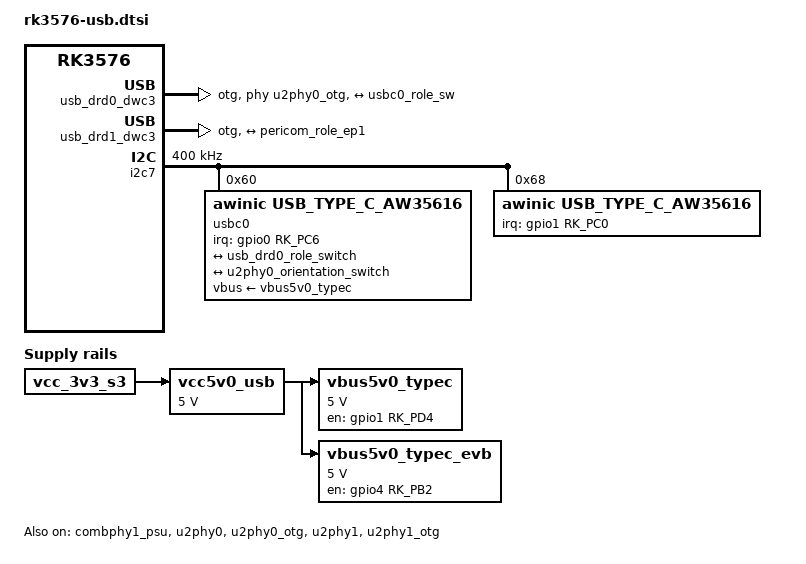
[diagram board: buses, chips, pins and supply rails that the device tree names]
// SPDX-License-Identifier: (GPL-2.0+ OR MIT)

/ {
	vcc5v0_usb: vcc5v0-usb {
		compatible = "regulator-fixed";
		regulator-name = "vcc5v0_usb";
		regulator-always-on;
		regulator-boot-on;
		regulator-min-microvolt = <5000000>;
		regulator-max-microvolt = <5000000>;
		vin-supply = <&vcc_3v3_s3>;	// By the voltage boosting circuit
	};

	vbus5v0_typec: vbus5v0-typec {
		compatible = "regulator-fixed";
		regulator-name = "vbus5v0_typec";
		regulator-min-microvolt = <5000000>;
		regulator-max-microvolt = <5000000>;
		enable-active-high;
		gpio = <&gpio1 RK_PD4 GPIO_ACTIVE_HIGH>;
		vin-supply = <&vcc5v0_usb>;
		pinctrl-names = "default";
		pinctrl-0 = <&usb_otg0_pwren>;
	};

	vbus5v0_typec_evb: vbus5v0-typec_evb {
		compatible = "regulator-fixed";
		regulator-name = "vbus5v0_typec_evb";
		regulator-min-microvolt = <5000000>;
		regulator-max-microvolt = <5000000>;
		enable-active-high;
		gpio = <&gpio4 RK_PB2 GPIO_ACTIVE_HIGH>;
		vin-supply = <&vcc5v0_usb>;
		pinctrl-names = "default";
		pinctrl-0 = <&usb_otg1_pwren>;
	};
};

&combphy1_psu {
	status = "okay";
};

&u2phy0 {
	orientation-switch;
	status = "okay";

	port {
		u2phy0_orientation_switch: endpoint {
			remote-endpoint = <&usbc0_orien_sw>;
		};
	};
};

&u2phy0_otg {
	status = "okay";
	rockchip,sel-pipe-phystatus;
	rockchip,dis-u2-susphy;
};

&usb_drd0_dwc3 {
	status = "okay";
	dr_mode = "otg";
	maximum-speed = "high-speed";
	phys = <&u2phy0_otg>;
	phy-names = "usb2-phy";
	usb-role-switch;
	snps,dis_u2_susphy_quirk;
	snps,usb2-lpm-disable;
	port {
		usb_drd0_role_switch: endpoint {
			remote-endpoint = <&usbc0_role_sw>;
		};
	};
};

&u2phy1 {
	status = "okay";
};

&u2phy1_otg {
    status = "okay";
	vbus-supply = <&vbus5v0_typec_evb>;
};

&usb_drd1_dwc3 {
    status = "okay";
	dr_mode = "otg";
	usb-role-switch;
	port {
        usb_drd1_role_switch: endpoint {
            remote-endpoint = <&pericom_role_ep1>;
        };
	};
};

&i2c7 {
	status = "okay";
	clock-frequency = <400000>;
	pinctrl-names = "default";
	pinctrl-0 = <&i2c7m1_xfer>;

	usbc0: usb_type_c_aw35616@60 {
		compatible = "awinic,usb_type_c_aw35616";
		reg = <0x60>;
		interrupt-parent = <&gpio0>;
		interrupts = <RK_PC6 IRQ_TYPE_LEVEL_LOW>;
		pinctrl-names = "default";
		pinctrl-0 = <&usbc0_int>;
		vbus-supply = <&vbus5v0_typec>;
		aw35616-tcpc,role_def = <5>; /* 1: SNK, 2: SRC, 3: DRP, 4: Try.SRC, 5: Try.SNK */
		aw35616,rp_level = <0>; /* 0: Default, 1: 1.5A, 2: 3.0A */
		aw35616_acc_support = <0>; /* 0: support, 1: no support */
		aw35616_toggle_cycle = <0>; /* 0: Disable, 1: 40ms, 2: 80ms, 3: 160ms */
		status = "okay";

		port {
			usbc0_role_sw: endpoint {
				remote-endpoint = <&usb_drd0_role_switch>;
			};
		};

		usb_con0: connector {
			compatible = "usb-c-connector";
			label = "USB-C";
			data-role = "dual";
			power-role = "dual";
			try-power-role = "sink";
			op-sink-microwatt = <1000000>;
			sink-pdos =
				<PDO_FIXED(5000, 1325, PDO_FIXED_USB_COMM)>;
			source-pdos =
				<PDO_FIXED(5000, 500, PDO_FIXED_USB_COMM)>;

			port {
				usbc0_orien_sw: endpoint {
					remote-endpoint = <&u2phy0_orientation_switch>;
				};
			};
		};
	};

	usb_type_c_aw35616@68 {
		pinctrl-names = "default";
		pinctrl-0 = <&usb3_int>;
		compatible = "awinic,usb_type_c_aw35616";
		reg = <0x68>;
		interrupt-parent = <&gpio1>;
		interrupts = <RK_PC0 IRQ_TYPE_LEVEL_LOW>;
		aw35616-tcpc,role_def = <5>;
		aw35616,rp_level = <0>;
		aw35616_acc_support = <0>;
		aw35616_toggle_cycle = <0>;
		status = "okay";

		connector {
			compatible = "usb-c-connector";
			label = "USB-C-3";
			data-role = "dual";
		};
	};
};

&i2c2 {
	status = "disabled";
	clock-frequency = <1000000>;
	pinctrl-names = "default";
	pinctrl-0 = <&i2c2m0_xfer>;

	usbc1: pericom_30216c@1d {
		compatible = "pericom,30216c";
		reg = <0x1d>;
		interrupt-parent = <&gpio2>;
		interrupts = <RK_PB3 IRQ_TYPE_LEVEL_LOW>;
		pinctrl-names = "default";
		pinctrl-0 = <&usbc1_int>;
        swcc-gpios = <&gpio4 RK_PB0 GPIO_ACTIVE_HIGH>;
		status = "disabled";

		port {
			pericom_role_ep1: endpoint {
				remote-endpoint = <&usb_drd1_role_switch>;
			};
		};

		usb_con1: connector {
            compatible = "usb-c-connector";
            label = "USB-C";
            data-role = "dual";
            power-role = "dual";
			port {
                pericom_role_ep: endpoint {};
            };
        };
    };
};

&usbdp_phy {
	status = "disabled";
};

&usbdp_phy_dp {
	status = "disabled";
};

&usbdp_phy_u3 {
	status = "disabled";
};

&pinctrl {
	usb {
		usb_otg0_pwren: usb-otg0-pwren {
			rockchip,pins = <1 RK_PD4 RK_FUNC_GPIO &pcfg_pull_none>;
		};
		usbc0_int: usbc0-int {
			rockchip,pins = <0 RK_PC6 RK_FUNC_GPIO &pcfg_pull_up>;
		};

		usb3_int: usb3-int {
			rockchip,pins = <1 RK_PC0 RK_FUNC_GPIO &pcfg_pull_up>;
		};


		usb_otg1_pwren: usb-otg1-pwren {
			rockchip,pins = <4 RK_PB2 RK_FUNC_GPIO &pcfg_pull_none>;
		};
		usbc1_int: usbc1-int {
			rockchip,pins = <2 RK_PB3 RK_FUNC_GPIO &pcfg_pull_up>,<4 RK_PB0 RK_FUNC_GPIO &pcfg_pull_none>;
		};
	};
};
